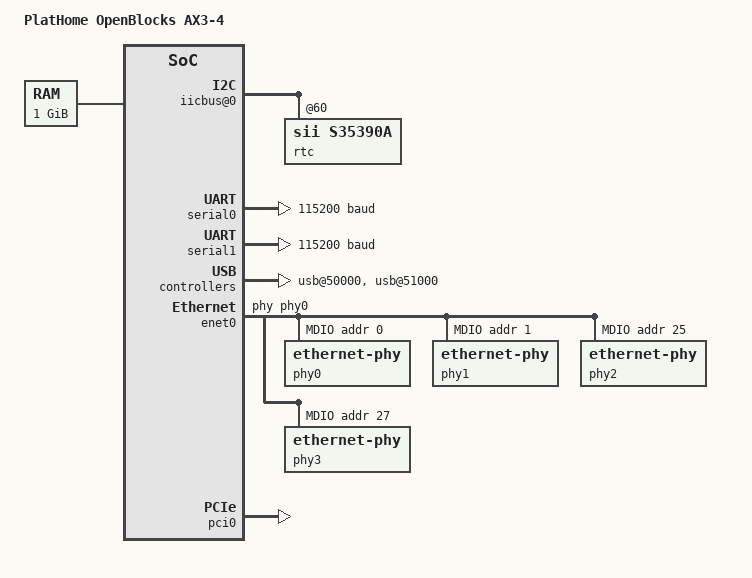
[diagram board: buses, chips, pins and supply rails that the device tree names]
/dts-v1/;

/ {
	model = "PlatHome OpenBlocks AX3-4";
	compatible = "mrvl,DB-78260";		// this is used for workaround
	#address-cells = <1>;
	#size-cells = <1>;

	aliases {
		serial0 = &serial0;
	};

	cpus {
		#address-cells = <1>;
		#size-cells = <0>;

		cpu@0 {
			device_type = "cpu";
			compatible = "ARM,88VS584";
			reg = <0x0>;
			d-cache-line-size = <32>;	// 32 bytes
			i-cache-line-size = <32>;	// 32 bytes
			d-cache-size = <0x8000>;	// L1, 32K
			i-cache-size = <0x8000>;	// L1, 32K
			timebase-frequency = <0>;
			bus-frequency = <200000000>;
			clock-frequency = <0>;
		};
	};

	memory {
		device_type = "memory";
		reg = <0x0 0x40000000>;		// 1G at 0x0
	};

	soc78260@d0000000 {
		#address-cells = <1>;
		#size-cells = <1>;
		compatible = "simple-bus";
		ranges = <0x0 0xd0000000 0x00100000>;
		bus-frequency = <0>;


		MPIC: mpic@20a00 {
			interrupt-controller;
			#address-cells = <0>;
			#interrupt-cells = <1>;
			reg = <0x20a00 0x500 0x21000 0x800 0x20400 0x100>;
			compatible = "mrvl,mpic";
		};

		rtc@10300 {
			compatible = "mrvl,rtc";
			reg = <0x10300 0x08>;
		};

		timer@21840 {
			compatible = "mrvl,timer";
			reg = <0x21840 0x30>;
			interrupts = <5>;
			interrupt-parent = <&MPIC>;
			mrvl,has-wdt;
		};

		twsi@11000 {
			#address-cells = <1>;
			#size-cells = <0>;
			compatible = "mrvl,twsi";
			reg = <0x11000 0x20>;
			interrupts = <31>;
			interrupt-parent = <&MPIC>;

			iicbus@0 {
				model = "iicbus";
				status = "disabled";

				eeprom@a0 {
					compatible = "sii,s24c02c";
					model = "s24c02c_eeprom";
					i2c-address = <0xa0>;
					status = "disabled";
				};
			};
		};

		twsi@11100 {
			#address-cells = <1>;
			#size-cells = <0>;
			compatible = "mrvl,twsi";
			reg = <0x11100 0x20>;
			interrupts = <32>;
			interrupt-parent = <&MPIC>;

			iicbus@0 {
				model = "iicbus";

				rtc@60 {
					compatible = "sii,s35390a";
					model = "s35390a_rtc";
					i2c-address = <0x60>;
				};
			};
		};

		serial0: serial@12000 {
			compatible = "ns16550";
			reg = <0x12000 0x20>;
			reg-shift = <2>;
			current-speed = <115200>;
			clock-frequency = <0>;
			busy-detect = <1>;
			interrupts = <41>;
			interrupt-parent = <&MPIC>;
		};

		serial1: serial@12100 {
			compatible = "ns16550";
			reg = <0x12100 0x20>;
			reg-shift = <2>;
			current-speed = <115200>;
			clock-frequency = <0>;
			busy-detect = <1>;
			interrupts = <42>;
			interrupt-parent = <&MPIC>;
		};

		MPP: mpp@18000 {
			#pin-cells = <2>;
			compatible = "mrvl,mpp";
			reg = <0x18000 0x34>;
			pin-count = <68>;
			pin-map = <
				0  0  /* 1? */
				1  0
				2  0
				3  0  /* 1? */
				4  0
				5  0  /* 1? */
				6  0
				7  0
				8  0
				9  0
				10 0
				11 0
				12 0  /* 2? */
				13 0  /* 2? */
				14 0  /* 1? */
				15 0  /* 1? */
				16 0
				17 0
				18 0
				19 0
				20 0
				21 0
				22 0
				23 0
				24 0
				25 0
				26 0
				27 0  /* 1? */
				28 0
				29 0
				30 1
				31 1
				32 1
				33 1
				34 1
				35 1
				36 0  /* 1? */
				37 0
				38 0  /* 1? */
				39 0
				40 0  /* 5? */
				41 0
				42 2
				43 2
				44 0
				45 0
				46 2
				47 2
				48 0  /* 1? */
				49 0
				50 0  /* 1? */
				51 0
				52 0  /* 1? */
				53 0
				54 0
				55 0
				56 0
				57 0
				58 0
				59 0
				60 0
				61 0
				62 0
				63 0
				64 0
				65 0
				66 0
				67 0 >;
		};

		usb@50000 {
			compatible = "mrvl,usb-ehci", "usb-ehci";
			reg = <0x50000 0x1000>;
			interrupts = <124 45>;
			interrupt-parent = <&MPIC>;
		};

		usb@51000 {
			compatible = "mrvl,usb-ehci", "usb-ehci";
			reg = <0x51000 0x1000>;
			interrupts = <124 46>;
			interrupt-parent = <&MPIC>;
		};

		enet0: ethernet@72000 {
			#address-cells = <1>;
			#size-cells = <1>;
			model = "V2";
			compatible = "mrvl,ge";
			reg = <0x72000 0x2000>;
			ranges = <0x0 0x72000 0x2000>;
			interrupts = <67 68 122 >;
			interrupt-parent = <&MPIC>;
			phy-handle = <&phy0>;
			has-neta;

			mdio@0 {
				#address-cells = <1>;
				#size-cells = <0>;
				compatible = "mrvl,mdio";

				phy0: ethernet-phy@0 {
					reg = <0x0>;
				};
				phy1: ethernet-phy@1 {
					reg = <0x1>;
				};
				phy2: ethernet-phy@2 {
					reg = <0x19>;
				};
				phy3: ethernet-phy@3 {
					reg = <0x1b>;
				};
			};
		};

		sata@A0000 {
			compatible = "mrvl,sata";
			reg = <0xA0000 0x6000>;
			interrupts = <55>;
			interrupt-parent = <&MPIC>;
			status = "disabled";
		};
	};

	pci0: pcie@d0040000 {
		compatible = "mrvl,pcie";
		device_type = "pci";
		#interrupt-cells = <1>;
		#size-cells = <2>;
		#address-cells = <3>;
		reg = <0xd0040000 0x2000>;
		bus-range = <0 255>;
		ranges = <0x02000000 0x0 0x80000000 0x80000000 0x0 0x20000000
			  0x01000000 0x0 0x00000000 0xa0000000 0x0 0x08000000>;
		clock-frequency = <33333333>;
		interrupt-parent = <&MPIC>;
		interrupts = <120>;
		interrupt-map-mask = <0xf800 0x0 0x0 0x7>;
		interrupt-map = <
			0x0800 0x0 0x0 0x1 &MPIC 0x3A
			0x0800 0x0 0x0 0x2 &MPIC 0x3A
			0x0800 0x0 0x0 0x3 &MPIC 0x3A
			0x0800 0x0 0x0 0x4 &MPIC 0x3A
			>;
	};

	sram@ffff0000 {
		compatible = "mrvl,cesa-sram";
		reg = <0xffff0000 0x00010000>;
	};

	chosen {
		stdin = "serial0";
		stdout = "serial0";
		stddbg = "serial0";
	};
};
